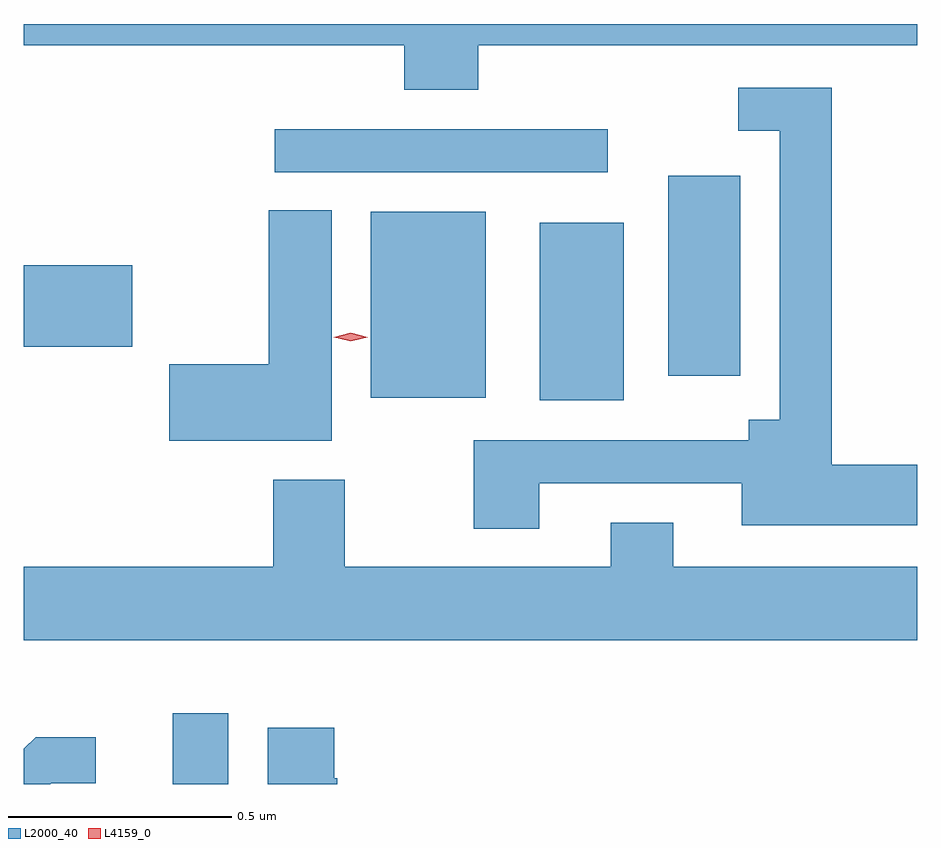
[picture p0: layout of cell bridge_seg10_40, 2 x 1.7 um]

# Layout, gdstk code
import gdstk
lib = gdstk.Library(unit=1e-6, precision=1e-09)
def R(c, l, rs):  # rectangles x0, y0, x1, y1
    for r in rs: c.add(gdstk.rectangle(r[:2], r[2:], *l))
def P(c, l, *ps):  # polygons
    for p in ps: c.add(gdstk.Polygon(p, *l))
L2000_40 = (2000, 40)
L4159_0 = (4159, 0)

bridge_seg10_40 = lib.new_cell('bridge_seg10_40')
R(bridge_seg10_40, L2000_40, [(929.042,1329.298,929.167,1329.457), (929.864,1330.157,930.052,1330.555), (929.486,1330.163,929.743,1330.579), (930.152,1330.212,930.313,1330.66), (928.709,1330.277,928.951,1330.46), (929.271,1330.668,930.016,1330.764)])
P(bridge_seg10_40, L2000_40, [(928.709,1330.952),(929.561,1330.952),(929.561,1330.853),(929.726,1330.853),(929.726,1330.952),(930.709,1330.952),(930.709,1331),(928.709,1331)],
  [(929.863,1329.972),(930.317,1329.972),(930.317,1329.878),(930.709,1329.878),(930.709,1330.013),(930.518,1330.013),(930.518,1330.857),(930.309,1330.857),(930.309,1330.761),(930.402,1330.761),(930.402,1330.114),(930.332,1330.114),(930.332,1330.068),(929.716,1330.068),(929.716,1329.87),(929.863,1329.87)],
  [(929.398,1330.583),(929.257,1330.583),(929.257,1330.238),(929.034,1330.238),(929.034,1330.067),(929.398,1330.067)],
  [(930.709,1329.784),(930.163,1329.784),(930.163,1329.883),(930.023,1329.883),(930.023,1329.784),(929.427,1329.784),(929.427,1329.979),(929.267,1329.979),(929.267,1329.784),(928.709,1329.784),(928.709,1329.62),(930.709,1329.62)],
  [(929.411,1329.311),(929.404,1329.311),(929.404,1329.424),(929.255,1329.424),(929.255,1329.298),(929.411,1329.298)],
  [(928.77,1329.3),(928.87,1329.3),(928.87,1329.403),(928.735,1329.403),(928.709,1329.377),(928.709,1329.298),(928.768,1329.298)])
P(bridge_seg10_40, L4159_0, [(929.441,1330.289),(929.403,1330.298),(929.403,1330.298),(929.403,1330.298),(929.441,1330.309),(929.479,1330.299),(929.479,1330.299),(929.479,1330.299)])

lib.write_gds('bridge_seg10_40.gds')
